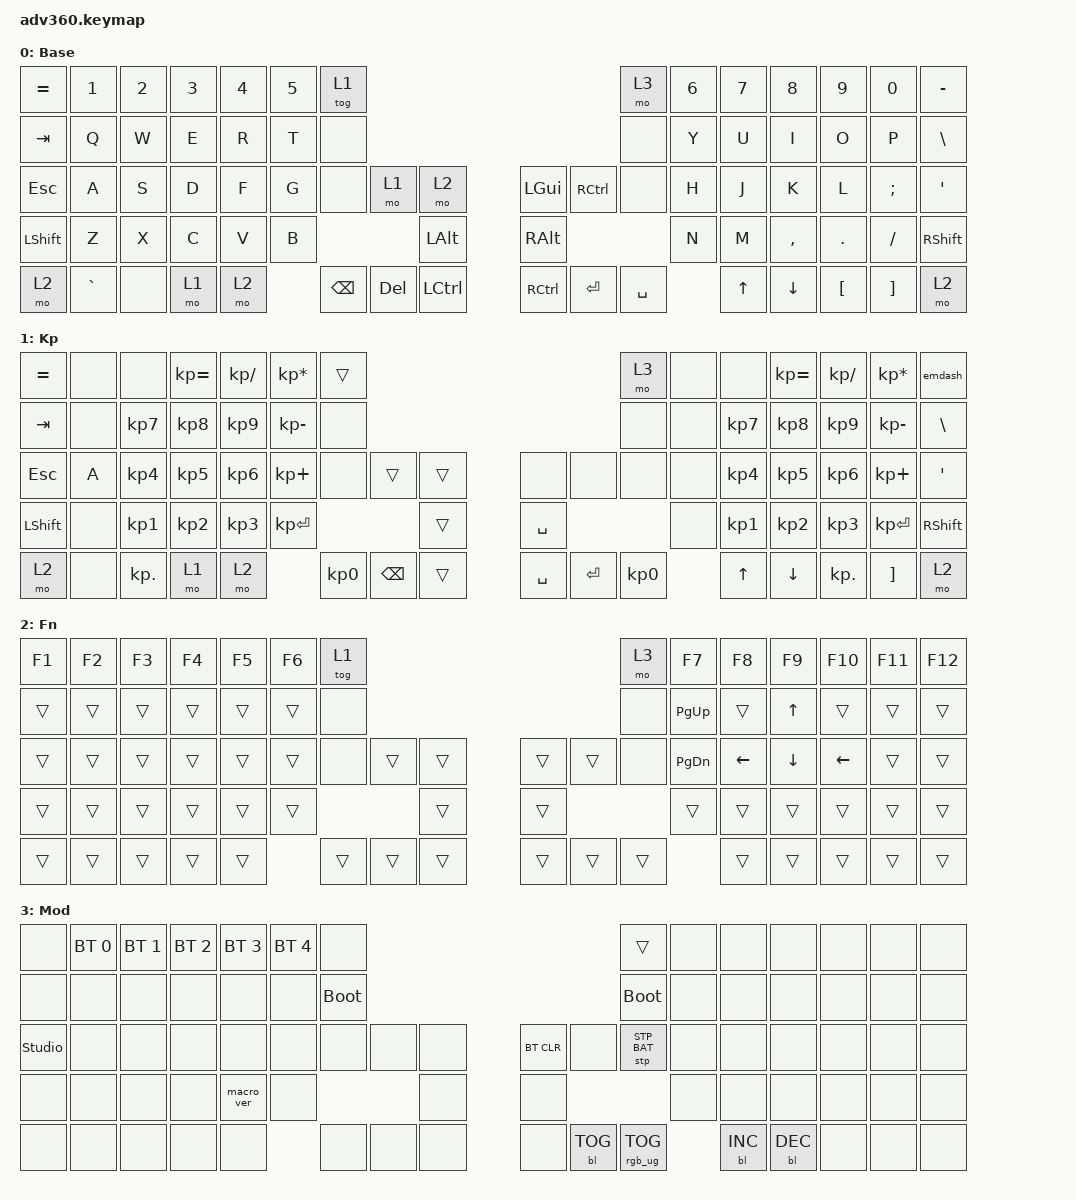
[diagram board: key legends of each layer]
#include <dt-bindings/zmk/stp.h>
#include <behaviors.dtsi>
#include <dt-bindings/zmk/backlight.h>
#include <dt-bindings/zmk/bt.h>
#include <dt-bindings/zmk/keys.h>
#include <dt-bindings/zmk/rgb.h>

/ {
    behaviors {
        #include "macros.dtsi"
      #include "version.dtsi"

        hm: homerow_mods {
            compatible = "zmk,behavior-hold-tap";
            label = "HOMEROW_MODS";
            #binding-cells = <2>;
            tapping-term-ms = <200>;
            quick_tap_ms = <175>;
            flavor = "tap-preferred";
            bindings = <&kp>, <&kp>;
        };
    };

    macros {
        emdash: emdash {
            compatible = "zmk,behavior-macro";
            #binding-cells = <0>;
            bindings =
                <&macro_press>,
                <&kp LEFT_ALT>,
                <&macro_tap>,
                <&kp KP_N0 &kp KP_N1 &kp KP_N5 &kp KP_N1>,
                <&macro_release>,
                <&kp LEFT_ALT>;

            label = "EMDASH";
        };
    };

    keymap {
        compatible = "zmk,keymap";

        default_layer {
            display-name = "Base";
            bindings = <
&kp EQUAL  &kp N1     &kp N2  &kp N3  &kp N4  &kp N5  &tog 1                                                                 &mo 3      &kp N6  &kp N7  &kp N8     &kp N9    &kp N0    &kp MINUS
&kp TAB    &kp Q      &kp W   &kp E   &kp R   &kp T   &none                                                                  &none      &kp Y   &kp U   &kp I      &kp O     &kp P     &kp BSLH
&kp ESC    &kp A      &kp S   &kp D   &kp F   &kp G   &none     &mo 1    &mo 2                 &kp LGUI           &kp RCTRL  &none      &kp H   &kp J   &kp K      &kp L     &kp SEMI  &kp SQT
&kp LSHFT  &kp Z      &kp X   &kp C   &kp V   &kp B                      &kp LEFT_ALT          &kp RIGHT_ALT                            &kp N   &kp M   &kp COMMA  &kp DOT   &kp FSLH  &kp RSHFT
&mo 2      &kp GRAVE  &none   &mo 1   &mo 2           &kp BSPC  &kp DEL  &kp LEFT_CONTROL      &kp RIGHT_CONTROL  &kp ENTER  &kp SPACE          &kp UP  &kp DOWN   &kp LBKT  &kp RBKT  &mo 2
            >;
        };

        keypad {
            display-name = "Kp";
            bindings = <
&kp EQUAL  &none  &none       &kp KP_EQUAL  &kp KP_SLASH  &kp KP_MULTIPLY  &trans                                                      &mo 3      &none  &none      &kp KP_EQUAL  &kp KP_DIVIDE  &kp KP_MULTIPLY  &emdash
&kp TAB    &none  &kp KP_N7   &kp KP_N8     &kp KP_N9     &kp KP_MINUS     &none                                                       &none      &none  &kp KP_N7  &kp KP_N8     &kp KP_N9      &kp KP_MINUS     &kp BSLH
&kp ESC    &kp A  &kp KP_N4   &kp KP_N5     &kp KP_N6     &kp KP_PLUS      &none      &trans         &trans      &none      &none      &none      &none  &kp KP_N4  &kp KP_N5     &kp KP_N6      &kp KP_PLUS      &kp SQT
&kp LSHFT  &none  &kp KP_N1   &kp KP_N2     &kp KP_N3     &kp KP_ENTER                               &trans      &kp SPACE                        &none  &kp KP_N1  &kp KP_N2     &kp KP_N3      &kp KP_ENTER     &kp RSHFT
&mo 2      &none  &kp KP_DOT  &mo 1         &mo 2                          &kp KP_N0  &kp BACKSPACE  &trans      &kp SPACE  &kp ENTER  &kp KP_N0         &kp UP     &kp DOWN      &kp KP_DOT     &kp RBKT         &mo 2
            >;
        };

        fn {
            display-name = "Fn";
            bindings = <
&kp F1  &kp F2  &kp F3  &kp F4  &kp F5  &kp F6  &tog 1                                      &mo 3   &kp F7         &kp F8          &kp F9          &kp F10         &kp F11  &kp F12
&trans  &trans  &trans  &trans  &trans  &trans  &none                                       &none   &kp PAGE_UP    &trans          &kp UP_ARROW    &trans          &trans   &trans
&trans  &trans  &trans  &trans  &trans  &trans  &none   &trans  &trans      &trans  &trans  &none   &kp PAGE_DOWN  &kp LEFT_ARROW  &kp DOWN_ARROW  &kp LEFT_ARROW  &trans   &trans
&trans  &trans  &trans  &trans  &trans  &trans                  &trans      &trans                  &trans         &trans          &trans          &trans          &trans   &trans
&trans  &trans  &trans  &trans  &trans          &trans  &trans  &trans      &trans  &trans  &trans                 &trans          &trans          &trans          &trans   &trans
            >;
        };

        mod {
            display-name = "Mod";
            bindings = <
&none           &bt BT_SEL 0  &bt BT_SEL 1  &bt BT_SEL 2  &bt BT_SEL 3  &bt BT_SEL 4  &none                                                  &trans           &none  &none       &none       &none  &none  &none
&none           &none         &none         &none         &none         &none         &bootloader                                            &bootloader      &none  &none       &none       &none  &none  &none
&studio_unlock  &none         &none         &none         &none         &none         &none        &none  &none      &bt BT_CLR  &none       &stp STP_BAT     &none  &none       &none       &none  &none  &none
&none           &none         &none         &none         &macro_ver    &none                             &none      &none                                    &none  &none       &none       &none  &none  &none
&none           &none         &none         &none         &none                       &none        &none  &none      &none       &bl BL_TOG  &rgb_ug RGB_TOG         &bl BL_INC  &bl BL_DEC  &none  &none  &none
            >;
        };

        extra1 {
            display-name = "Red";
            status = "reserved";
        };

        extra2 {
            display-name = "Purple";
            status = "reserved";
        };

        extra3 {
            display-name = "Cyan";
            status = "reserved";
        };

        extra4 {
            display-name = "Yellow";
            status = "reserved";
        };
    };
};
